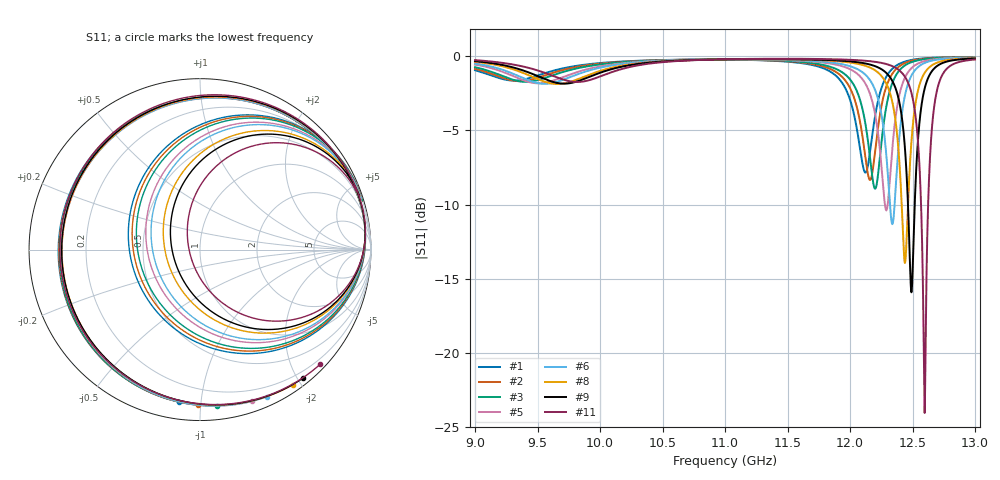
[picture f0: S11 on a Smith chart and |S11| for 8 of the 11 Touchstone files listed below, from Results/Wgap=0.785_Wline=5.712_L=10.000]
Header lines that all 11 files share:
! TOUCHSTONE file generated by CST DESIGN STUDIO
! Project name: C:\Work\MatlabApps\UnitCellOptimizationMatlab\CST\unitcell.cst
! Tree item: Tasks\Sweep1\SPara1\S-Parameters
! Header version: 2024
! Port assignment regex: !\s*Touchstone port\s*([0-9]+)\s*=\s*(CST MWS port|CST DES external port|CST DES block port)\s*(.+)\s* \(\"(.*)\"\)(\s*mode\s*([0-9]+))?.*
! Touchstone port assignment:
! Touchstone port 1 = CST DES external port 1 ("")
# GHz S MA R 50
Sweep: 9 GHz to 13 GHz
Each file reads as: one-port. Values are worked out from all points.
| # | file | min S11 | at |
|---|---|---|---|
| 1 | DS_for_MWS-run-0001.s1p | -7.8 dB | 12.12 GHz |
| 2 | DS_for_MWS-run-0002.s1p | -8.3 dB | 12.16 GHz |
| 3 | DS_for_MWS-run-0003.s1p | -8.9 dB | 12.2 GHz |
| 4 | DS_for_MWS-run-0004.s1p | -9.6 dB | 12.24 GHz |
| 5 | DS_for_MWS-run-0005.s1p | -10.4 dB | 12.29 GHz |
| 6 | DS_for_MWS-run-0006.s1p | -11.3 dB | 12.34 GHz |
| 7 | DS_for_MWS-run-0007.s1p | -12.5 dB | 12.39 GHz |
| 8 | DS_for_MWS-run-0008.s1p | -13.9 dB | 12.44 GHz |
| 9 | DS_for_MWS-run-0009.s1p | -15.9 dB | 12.49 GHz |
| 10 | DS_for_MWS-run-0010.s1p | -18.9 dB | 12.54 GHz |
| 11 | DS_for_MWS-run-0011.s1p | -24.1 dB | 12.6 GHz |
